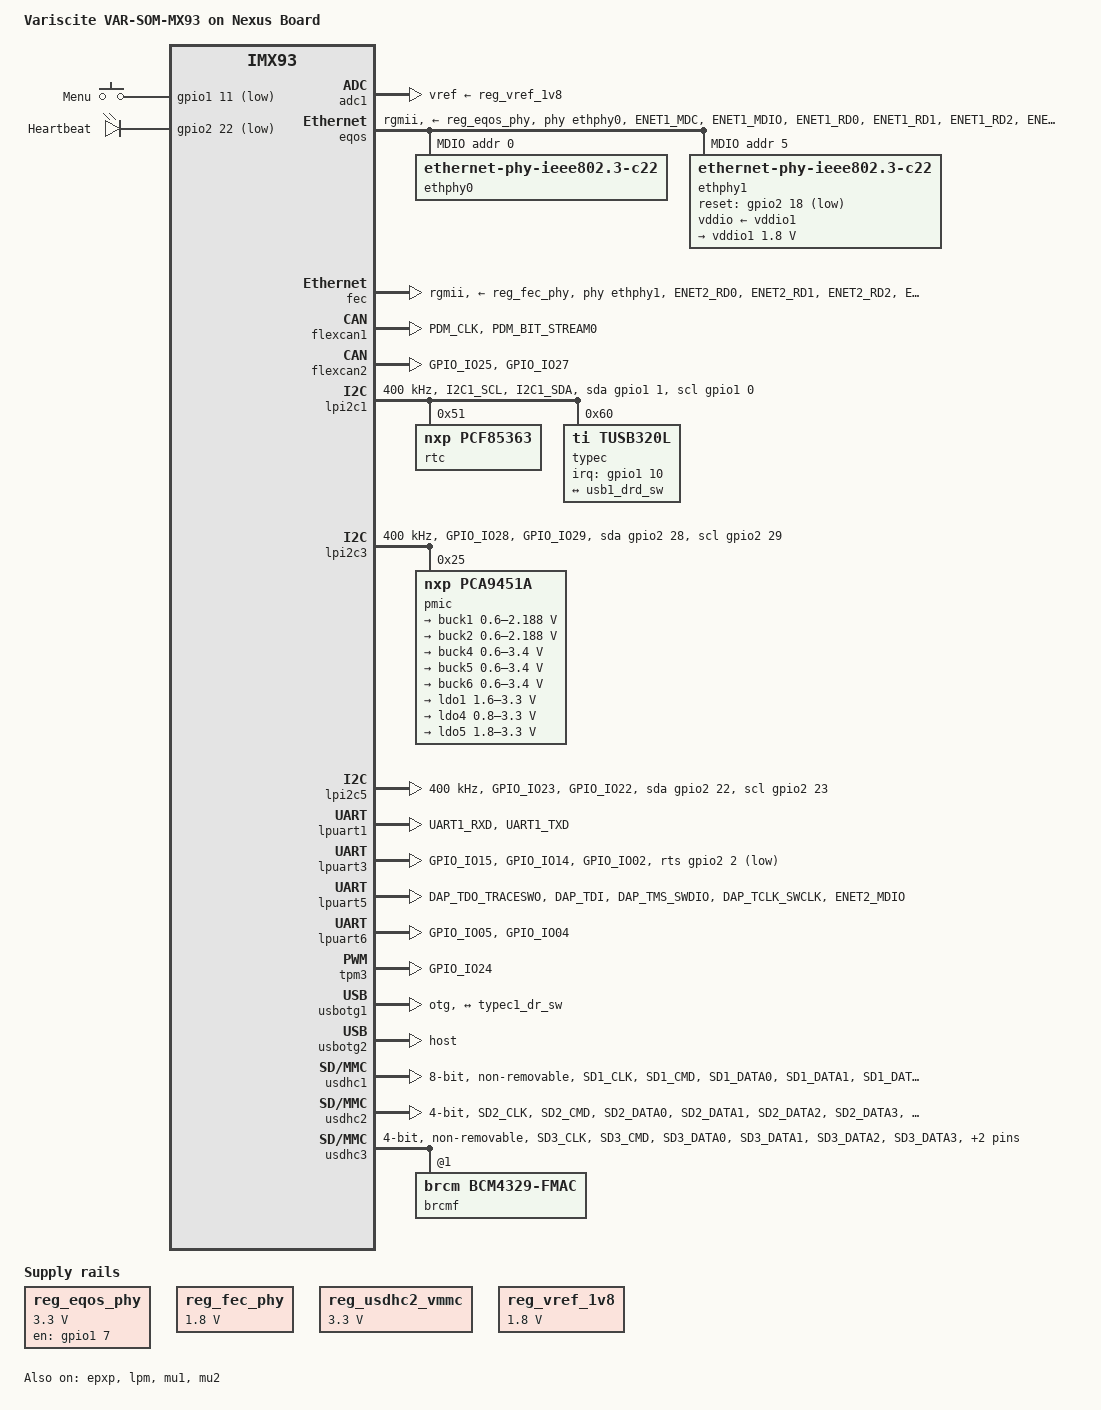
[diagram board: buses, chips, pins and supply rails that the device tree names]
// SPDX-License-Identifier: (GPL-2.0+ OR MIT)
/*
 * Copyright 2022 NXP
 * Copyright 2023 Variscite Ltd.
 * Copyright 2023 AERL Pty Ltd.
 */

/dts-v1/;

#include <dt-bindings/usb/pd.h>
#include "imx93.dtsi"

/ {
	compatible = "variscite,imx93-var-som", "fsl,imx93";
	model = "Variscite VAR-SOM-MX93 on Nexus Board";

	chosen {
		stdout-path = &lpuart1;
	};

	cm33: imx93-cm33 {
		compatible = "fsl,imx93-cm33";
		mbox-names = "tx", "rx", "rxdb";
		mboxes = <&mu1 0 1
			  &mu1 1 1
			  &mu1 3 1>;
		memory-region = <&vdevbuffer>, <&vdev0vring0>, <&vdev0vring1>,
				<&vdev1vring0>, <&vdev1vring1>, <&rsc_table>;
		fsl,startup-delay-ms = <500>;
	};

	ethosu {
		compatible = "arm,ethosu";
		fsl,cm33-proc = <&cm33>;
		memory-region = <&ethosu_mem>;
		power-domains = <&mlmix>;
	};

	gpio-keys {
		compatible = "gpio-keys";
		status = "okay";

		menu {
			label = "Menu";
			gpios = <&gpio1 11 GPIO_ACTIVE_LOW>;
			linux,code = <KEY_MENU>;
			wakeup-source;
		};
	};

	leds {
		compatible = "gpio-leds";
		status = "okay";

		heartbeat {
			label = "Heartbeat";
			gpios = <&gpio2 22 GPIO_ACTIVE_LOW>;
			linux,default-trigger = "heartbeat";
		};
	};

	reg_eqos_phy: regulator-eqos-phy {
		compatible = "regulator-fixed";
		pinctrl-names = "default";
		pinctrl-0 = <&pinctrl_reg_eqos_phy>;
		regulator-name = "eth_phy_pwr";
		regulator-min-microvolt = <3300000>;
		regulator-max-microvolt = <3300000>;
		gpio = <&gpio1 7 GPIO_ACTIVE_HIGH>;
		enable-active-high;
		startup-delay-us = <100000>;
		regulator-always-on;
	};

	reg_fec_phy: regulator-fec-phy {
		compatible = "regulator-fixed";
		regulator-name = "fec-phy";
		regulator-min-microvolt = <1800000>;
		regulator-max-microvolt = <1800000>;
	};

	reg_usdhc2_vmmc: regulator-usdhc2 {
		compatible = "regulator-fixed";
		regulator-name = "VSD_3V3";
		regulator-min-microvolt = <3300000>;
		regulator-max-microvolt = <3300000>;
	};

	reg_vref_1v8: regulator-adc-vref {
		compatible = "regulator-fixed";
		regulator-name = "vref_1v8";
		regulator-min-microvolt = <1800000>;
		regulator-max-microvolt = <1800000>;
	};

	reserved-memory {
		#address-cells = <2>;
		#size-cells = <2>;
		ranges;

		linux,cma {
			compatible = "shared-dma-pool";
			reusable;
			size = <0 0x4000000>;
			linux,cma-default;
		};

		ethosu_mem: ethosu_region@88000000 {
			compatible = "shared-dma-pool";
			reusable;
			reg = <0x0 0x88000000 0x0 0x8000000>;
		};

		vdev0vring0: vdev0vring0@87ee0000 {
			reg = <0 0x87ee0000 0 0x8000>;
			no-map;
		};

		vdev0vring1: vdev0vring1@87ee8000 {
			reg = <0 0x87ee8000 0 0x8000>;
			no-map;
		};

		vdev1vring0: vdev1vring0@87ef0000 {
			reg = <0 0x87ef0000 0 0x8000>;
			no-map;
		};

		vdev1vring1: vdev1vring1@87ef8000 {
			reg = <0 0x87ef8000 0 0x8000>;
			no-map;
		};

		rsc_table: rsc-table@2021f000 {
			reg = <0 0x2021f000 0 0x1000>;
			no-map;
		};

		vdevbuffer: vdevbuffer@87f00000 {
			compatible = "shared-dma-pool";
			reg = <0 0x87f00000 0 0x100000>;
			no-map;
		};

		ele_reserved: ele-reserved@87de0000 {
			compatible = "shared-dma-pool";
			reg = <0 0x87de0000 0 0x100000>;
			no-map;
		};
	};
};

&adc1 {
	vref-supply = <&reg_vref_1v8>;
	status = "okay";
};

/* Use external instead of internal RTC*/
&bbnsm_rtc {
	status = "disabled";
};

&ele_mu {
	memory-region = <&ele_reserved>;
};

&epxp {
	status = "okay";
};

/* Ethernet Quality-of-Service */
&eqos {
	pinctrl-names = "default";
	pinctrl-0 = <&pinctrl_eqos>;
	phy-mode = "rgmii";
	phy-handle = <&ethphy0>;
	phy-supply = <&reg_eqos_phy>;
	status = "okay";

	mdio {
		compatible = "snps,dwmac-mdio";
		#address-cells = <1>;
		#size-cells = <0>;
		clock-frequency = <1000000>;

		ethphy0: ethernet-phy@0 {
			compatible = "ethernet-phy-ieee802.3-c22";
			reg = <0>;
			eee-broken-1000t;
		};

		ethphy1: ethernet-phy@5 {
			compatible = "ethernet-phy-ieee802.3-c22";
			reg = <5>;
			qca,disable-smarteee;
			eee-broken-1000t;
			reset-gpios = <&gpio2 18 GPIO_ACTIVE_LOW>;
			reset-assert-us = <10000>;
			reset-deassert-us = <20000>;
			vddio-supply = <&vddio1>;

			vddio1: vddio-regulator {
				regulator-min-microvolt = <1800000>;
				regulator-max-microvolt = <1800000>;
			};
		};
	};
};

/* Fast Ethernet Controller */
&fec {
	pinctrl-names = "default";
	pinctrl-0 = <&pinctrl_fec>;
	phy-mode = "rgmii";
	phy-handle = <&ethphy1>;
	phy-supply = <&reg_fec_phy>;
	status = "okay";
};

&flexcan1 {
	pinctrl-names = "default";
	pinctrl-0 = <&pinctrl_flexcan1>;
	status = "okay";
};

&flexcan2 {
	pinctrl-names = "default";
	pinctrl-0 = <&pinctrl_flexcan2>;
	status = "okay";
};

&iomuxc {
    pinctrl_bt: btgrp {
		fsl,pins = <
			MX93_PAD_ENET2_MDIO__GPIO4_IO15				0x51e
		>;
	};

	pinctrl_captouch: captouchgrp {
		fsl,pins = <
			MX93_PAD_GPIO_IO25__GPIO2_IO25			0x31e
		>;
	};

	pinctrl_extcon: extcongrp {
		fsl,pins = <
			MX93_PAD_PDM_BIT_STREAM1__GPIO1_IO10	0x31e
		>;
	};

	pinctrl_eqos: eqosgrp {
		fsl,pins = <
			MX93_PAD_ENET1_MDC__ENET_QOS_MDC			0x57e
			MX93_PAD_ENET1_MDIO__ENET_QOS_MDIO			0x57e
			MX93_PAD_ENET1_RD0__ENET_QOS_RGMII_RD0			0x57e
			MX93_PAD_ENET1_RD1__ENET_QOS_RGMII_RD1			0x57e
			MX93_PAD_ENET1_RD2__ENET_QOS_RGMII_RD2			0x57e
			MX93_PAD_ENET1_RD3__ENET_QOS_RGMII_RD3			0x57e
			MX93_PAD_ENET1_RXC__CCM_ENET_QOS_CLOCK_GENERATE_RX_CLK	0x5fe
			MX93_PAD_ENET1_RX_CTL__ENET_QOS_RGMII_RX_CTL		0x57e
			MX93_PAD_ENET1_TD0__ENET_QOS_RGMII_TD0			0x57e
			MX93_PAD_ENET1_TD1__ENET_QOS_RGMII_TD1			0x57e
			MX93_PAD_ENET1_TD2__ENET_QOS_RGMII_TD2			0x57e
			MX93_PAD_ENET1_TD3__ENET_QOS_RGMII_TD3			0x57e
			MX93_PAD_ENET1_TXC__CCM_ENET_QOS_CLOCK_GENERATE_TX_CLK	0x5fe
			MX93_PAD_ENET1_TX_CTL__ENET_QOS_RGMII_TX_CTL		0x57e
			MX93_PAD_GPIO_IO18__GPIO2_IO18		0x57e
		>;
	};

	pinctrl_fec: fecgrp {
		fsl,pins = <
			MX93_PAD_ENET2_RD0__ENET1_RGMII_RD0		0x57e
			MX93_PAD_ENET2_RD1__ENET1_RGMII_RD1		0x57e
			MX93_PAD_ENET2_RD2__ENET1_RGMII_RD2		0x57e
			MX93_PAD_ENET2_RD3__ENET1_RGMII_RD3		0x57e
			MX93_PAD_ENET2_RXC__ENET1_RGMII_RXC		0x5fe
			MX93_PAD_ENET2_RX_CTL__ENET1_RGMII_RX_CTL	0x57e
			MX93_PAD_ENET2_TD0__ENET1_RGMII_TD0		0x57e
			MX93_PAD_ENET2_TD1__ENET1_RGMII_TD1		0x57e
			MX93_PAD_ENET2_TD2__ENET1_RGMII_TD2		0x57e
			MX93_PAD_ENET2_TD3__ENET1_RGMII_TD3		0x57e
			MX93_PAD_ENET2_TXC__ENET1_RGMII_TXC		0x5fe
			MX93_PAD_ENET2_TX_CTL__ENET1_RGMII_TX_CTL	0x57e
		>;
	};

	pinctrl_flexcan1: flexcan1grp {
		fsl,pins = <
			MX93_PAD_PDM_CLK__CAN1_TX                       0x139e
			MX93_PAD_PDM_BIT_STREAM0__CAN1_RX               0x139e
		>;
	};

	pinctrl_flexcan2: flexcan2grp {
		fsl,pins = <
			MX93_PAD_GPIO_IO25__CAN2_TX	                    0x139e
			MX93_PAD_GPIO_IO27__CAN2_RX	                    0x139e
		>;
	};

	pinctrl_lpi2c1: lpi2c1grp {
		fsl,pins = <
			MX93_PAD_I2C1_SCL__LPI2C1_SCL			0x40000b9e
			MX93_PAD_I2C1_SDA__LPI2C1_SDA			0x40000b9e
		>;
	};

	pinctrl_lpi2c1_gpio: lpi2c1grp-gpio {
		fsl,pins = <
			MX93_PAD_I2C1_SCL__GPIO1_IO00			0x31e
			MX93_PAD_I2C1_SDA__GPIO1_IO01			0x31e
		>;
	};

	pinctrl_lpi2c3: lpi2c3grp {
		fsl,pins = <
			MX93_PAD_GPIO_IO28__LPI2C3_SDA			0x40000b9e
			MX93_PAD_GPIO_IO29__LPI2C3_SCL			0x40000b9e
		>;
	};

	pinctrl_lpi2c3_gpio: lpi2c3grp-gpio {
		fsl,pins = <
			MX93_PAD_GPIO_IO28__GPIO2_IO28			0x40000b9e
			MX93_PAD_GPIO_IO29__GPIO2_IO29			0x40000b9e
		>;
	};

	pinctrl_lpi2c5: lpi2c5grp {
		fsl,pins = <
			MX93_PAD_GPIO_IO23__LPI2C5_SCL			0x40000b9e
			MX93_PAD_GPIO_IO22__LPI2C5_SDA			0x40000b9e
		>;
	};

	pinctrl_lpi2c5_gpio: lpi2c5grp-gpio {
		fsl,pins = <
			MX93_PAD_GPIO_IO23__GPIO2_IO23			0x31e
			MX93_PAD_GPIO_IO22__GPIO2_IO22			0x31e
		>;
	};

	pinctrl_uart1: uart1grp {
		fsl,pins = <
			MX93_PAD_UART1_RXD__LPUART1_RX			0x31e
			MX93_PAD_UART1_TXD__LPUART1_TX			0x31e
		>;
	};

	pinctrl_uart3: uart3grp {
		fsl,pins = <
			MX93_PAD_GPIO_IO15__LPUART3_RX		0x31e
			MX93_PAD_GPIO_IO14__LPUART3_TX		0x31e
		>;
	};

	pinctrl_uart3_rs485: uart3rs485 {
		fsl,pins = <
			MX93_PAD_GPIO_IO02__GPIO2_IO02		0x31e
		>;
	};

	pinctrl_uart5: uart5grp {
		fsl,pins = <
			MX93_PAD_DAP_TDO_TRACESWO__LPUART5_TX	0x31e
			MX93_PAD_DAP_TDI__LPUART5_RX		0x31e
			MX93_PAD_DAP_TMS_SWDIO__LPUART5_RTS_B	0x31e
			MX93_PAD_DAP_TCLK_SWCLK__LPUART5_CTS_B	0x31e
		>;
	};

	pinctrl_uart6: uart6grp {
		fsl,pins = <
			MX93_PAD_GPIO_IO05__LPUART6_RX			0x31e
			MX93_PAD_GPIO_IO04__LPUART6_TX			0x31e
		>;
	};

	pinctrl_uart7: uart7grp {
		fsl,pins = <
			MX93_PAD_GPIO_IO09__LPUART7_RX			0x31e
			MX93_PAD_GPIO_IO08__LPUART7_TX			0x31e
		>;
	};

	pinctrl_reg_eqos_phy: regeqosgrp {
		fsl,pins = <
			MX93_PAD_UART2_TXD__GPIO1_IO07			0x51e
		>;
	};

	pinctrl_tpm3: tpm3grp {
		fsl,pins = <
			MX93_PAD_GPIO_IO24__TPM3_CH3		0x51e
		>;
	};

	pinctrl_usdhc1: usdhc1grp {
		fsl,pins = <
			MX93_PAD_SD1_CLK__USDHC1_CLK		0x15fe
			MX93_PAD_SD1_CMD__USDHC1_CMD		0x13fe
			MX93_PAD_SD1_DATA0__USDHC1_DATA0	0x13fe
			MX93_PAD_SD1_DATA1__USDHC1_DATA1	0x13fe
			MX93_PAD_SD1_DATA2__USDHC1_DATA2	0x13fe
			MX93_PAD_SD1_DATA3__USDHC1_DATA3	0x13fe
			MX93_PAD_SD1_DATA4__USDHC1_DATA4	0x13fe
			MX93_PAD_SD1_DATA5__USDHC1_DATA5	0x13fe
			MX93_PAD_SD1_DATA6__USDHC1_DATA6	0x13fe
			MX93_PAD_SD1_DATA7__USDHC1_DATA7	0x13fe
			MX93_PAD_SD1_STROBE__USDHC1_STROBE	0x15fe
		>;
	};

	pinctrl_usdhc2: usdhc2grp {
		fsl,pins = <
			MX93_PAD_SD2_CLK__USDHC2_CLK		0x15fe
			MX93_PAD_SD2_CMD__USDHC2_CMD		0x13fe
			MX93_PAD_SD2_DATA0__USDHC2_DATA0	0x13fe
			MX93_PAD_SD2_DATA1__USDHC2_DATA1	0x13fe
			MX93_PAD_SD2_DATA2__USDHC2_DATA2	0x13fe
			MX93_PAD_SD2_DATA3__USDHC2_DATA3	0x13fe
			MX93_PAD_SD2_VSELECT__USDHC2_VSELECT	0x51e
		>;
	};

	pinctrl_usdhc3: usdhc3grp {
		fsl,pins = <
			MX93_PAD_SD3_CLK__USDHC3_CLK			0x1306
			MX93_PAD_SD3_CMD__USDHC3_CMD			0x1306
			MX93_PAD_SD3_DATA0__USDHC3_DATA0		0x1306
			MX93_PAD_SD3_DATA1__USDHC3_DATA1		0x1306
			MX93_PAD_SD3_DATA2__USDHC3_DATA2		0x1306
			MX93_PAD_SD3_DATA3__USDHC3_DATA3		0x1306
		>;
	};

	pinctrl_usdhc2_gpio: usdhc2gpiogrp {
		fsl,pins = <
			MX93_PAD_SD2_CD_B__GPIO3_IO00		0x31e
		>;
	};

	pinctrl_wifi: wifigrp {
		fsl,pins = <
			MX93_PAD_ENET2_MDC__GPIO4_IO14			0x51e /* WIFI_REG_ON     */
			MX93_PAD_SD2_RESET_B__GPIO3_IO07		0x51e /* WIFI_PWR_EN     */
		>;
	};
};

&lpi2c1 {
	#address-cells = <1>;
	#size-cells = <0>;
	clock-frequency = <400000>;
	pinctrl-names = "default", "sleep", "gpio";
	pinctrl-0 = <&pinctrl_lpi2c1>;
	pinctrl-1 = <&pinctrl_lpi2c1_gpio>;
	pinctrl-2 = <&pinctrl_lpi2c1_gpio>;
	scl-gpios = <&gpio1 0 GPIO_ACTIVE_HIGH>;
	sda-gpios = <&gpio1 1 GPIO_ACTIVE_HIGH>;
	status = "okay";

	/* PCF85363 RTC module */
	rtc@68 {
		status = "okay";
		compatible = "nxp,pcf85363";
		reg = <0x51>;
	};

    /* USB Type-C Controller */
	typec@47 {
		compatible = "ti,tusb320l";
		pinctrl-names = "default";
		pinctrl-0 = <&pinctrl_extcon>;
		reg = <0x60>;
		interrupt-parent = <&gpio1>;
		interrupts = <10 IRQ_TYPE_NONE>;
		irq-is-id-quirk;

		port {
			typec1_dr_sw: endpoint {
				remote-endpoint = <&usb1_drd_sw>;
			};
		};
	};
};

&lpi2c3 {
	#address-cells = <1>;
	#size-cells = <0>;
	clock-frequency = <400000>;
	pinctrl-names = "default", "sleep", "gpio";
	pinctrl-0 = <&pinctrl_lpi2c3>;
	pinctrl-1 = <&pinctrl_lpi2c3_gpio>;
	pinctrl-2 = <&pinctrl_lpi2c3_gpio>;
	scl-gpios = <&gpio2 29 GPIO_ACTIVE_HIGH>;
	sda-gpios = <&gpio2 28 GPIO_ACTIVE_HIGH>;
	status = "okay";

	pmic@25 {
		compatible = "nxp,pca9451a";
		reg = <0x25>;

		regulators {
			buck1: BUCK1 {
				regulator-name = "BUCK1";
				regulator-min-microvolt = <600000>;
				regulator-max-microvolt = <2187500>;
				regulator-boot-on;
				regulator-always-on;
				regulator-ramp-delay = <3125>;
			};

			buck2: BUCK2 {
				regulator-name = "BUCK2";
				regulator-min-microvolt = <600000>;
				regulator-max-microvolt = <2187500>;
				regulator-boot-on;
				regulator-always-on;
				regulator-ramp-delay = <3125>;
			};

			buck4: BUCK4{
				regulator-name = "BUCK4";
				regulator-min-microvolt = <600000>;
				regulator-max-microvolt = <3400000>;
				regulator-boot-on;
				regulator-always-on;
			};

			buck5: BUCK5{
				regulator-name = "BUCK5";
				regulator-min-microvolt = <600000>;
				regulator-max-microvolt = <3400000>;
				regulator-boot-on;
				regulator-always-on;
			};

			buck6: BUCK6 {
				regulator-name = "BUCK6";
				regulator-min-microvolt = <600000>;
				regulator-max-microvolt = <3400000>;
				regulator-boot-on;
				regulator-always-on;
			};

			ldo1: LDO1 {
				regulator-name = "LDO1";
				regulator-min-microvolt = <1600000>;
				regulator-max-microvolt = <3300000>;
				regulator-boot-on;
				regulator-always-on;
			};

			ldo4: LDO4 {
				regulator-name = "LDO4";
				regulator-min-microvolt = <800000>;
				regulator-max-microvolt = <3300000>;
				regulator-boot-on;
				regulator-always-on;
			};

			ldo5: LDO5 {
				regulator-name = "LDO5";
				regulator-min-microvolt = <1800000>;
				regulator-max-microvolt = <3300000>;
				regulator-boot-on;
				regulator-always-on;
			};
		};
	};
};

&lpi2c5 {
	#address-cells = <1>;
	#size-cells = <0>;
	clock-frequency = <400000>;
	pinctrl-names = "default", "sleep", "gpio";
	pinctrl-0 = <&pinctrl_lpi2c5>;
	pinctrl-1 = <&pinctrl_lpi2c5_gpio>;
	pinctrl-2 = <&pinctrl_lpi2c5_gpio>;
	scl-gpios = <&gpio2 23 GPIO_ACTIVE_HIGH>;
	sda-gpios = <&gpio2 22 GPIO_ACTIVE_HIGH>;
	status = "okay";
};

&lpm {
	soc-supply = <&buck1>;
	status = "okay";
};

/* Console */
&lpuart1 {
	pinctrl-names = "default";
	pinctrl-0 = <&pinctrl_uart1>;
	status = "okay";
};

/* RS485 */
&lpuart3 {
	pinctrl-names = "default";
	pinctrl-0 = <&pinctrl_uart3>, <&pinctrl_uart3_rs485>;
	rts-gpios = <&gpio2 2 GPIO_ACTIVE_LOW>;
	linux,rs485-enabled-at-boot-time;
	rs485-rts-active-low;
    rs485-rx-during-tx;
	status = "okay";
};

/* BT module */
&lpuart5 {
	pinctrl-names = "default";
	pinctrl-0 = <&pinctrl_uart5>, <&pinctrl_bt>;
	uart-has-rtscts;
	status = "okay";
};

/* J18.7, J18.9 */
&lpuart6 {
	pinctrl-names = "default";
	pinctrl-0 = <&pinctrl_uart6>;
	status = "okay";
};

/* J18.3, J18.5 - used by M33 firmware */
&lpuart7 {
	pinctrl-names = "default";
	pinctrl-0 = <&pinctrl_uart7>;
	status = "disabled";
};

&mu1 {
	status = "okay";
};

&mu2 {
	status = "okay";
};

&tpm3 {
	pinctrl-0 = <&pinctrl_tpm3>;
	pinctrl-names = "default";
	status = "okay";
};

&usbotg1 {
	dr_mode = "otg";
	picophy,pre-emp-curr-control = <3>;
	picophy,dc-vol-level-adjust = <7>;
	hnp-disable;
	srp-disable;
	adp-disable;
	usb-role-switch;
	status = "okay";

	port {
		usb1_drd_sw: endpoint {
			remote-endpoint = <&typec1_dr_sw>;
		};
	};
};

&usbotg2 {
	disable-over-current;
	dr_mode = "host";
	status = "okay";
};

/* eMMC */
&usdhc1 {
	pinctrl-names = "default", "state_100mhz", "state_200mhz";
	pinctrl-0 = <&pinctrl_usdhc1>;
	pinctrl-1 = <&pinctrl_usdhc1>;
	pinctrl-2 = <&pinctrl_usdhc1>;
	bus-width = <8>;
	non-removable;
	status = "okay";
};

/* SD */
&usdhc2 {
	pinctrl-names = "default", "state_100mhz", "state_200mhz";
	pinctrl-0 = <&pinctrl_usdhc2>, <&pinctrl_usdhc2_gpio>;
	pinctrl-1 = <&pinctrl_usdhc2>, <&pinctrl_usdhc2_gpio>;
	pinctrl-2 = <&pinctrl_usdhc2>, <&pinctrl_usdhc2_gpio>;
	cd-gpios = <&gpio3 00 GPIO_ACTIVE_LOW>;
	bus-width = <4>;
	status = "okay";
	no-sdio;
	no-mmc;
};

/* WiFi */
&usdhc3 {
	#address-cells = <1>;
	#size-cells = <0>;
	pinctrl-names = "default", "state_100mhz", "state_200mhz";
	pinctrl-0 = <&pinctrl_usdhc3>, <&pinctrl_wifi>;
	pinctrl-1 = <&pinctrl_usdhc3>, <&pinctrl_wifi>;
	pinctrl-2 = <&pinctrl_usdhc3>, <&pinctrl_wifi>;
	bus-width = <4>;
	non-removable;
	wakeup-source;
	status = "okay";

	brcmf: bcrmf@1 {
		reg = <1>;
		compatible = "brcm,bcm4329-fmac";
	};
};
